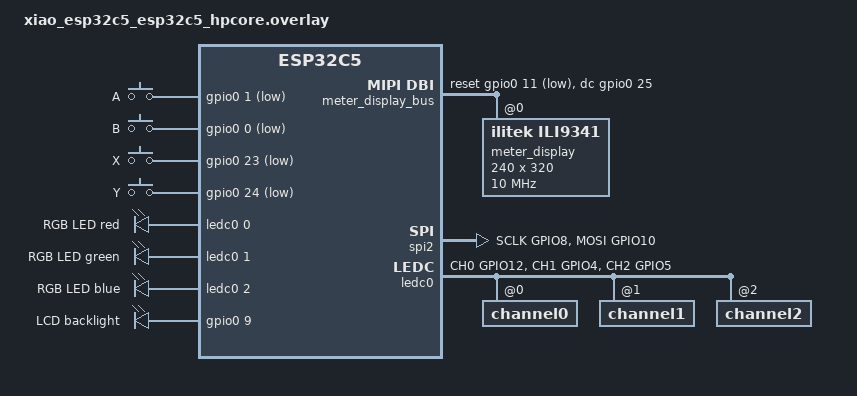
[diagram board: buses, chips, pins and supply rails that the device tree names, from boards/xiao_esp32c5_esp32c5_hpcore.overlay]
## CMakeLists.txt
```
# Copyright (c) 2026 Rob McKay
# SPDX-License-Identifier: Apache-2.0

cmake_minimum_required(VERSION 3.20.0)

include(${CMAKE_CURRENT_SOURCE_DIR}/../cmake/toolchain.cmake)
find_package(Zephyr REQUIRED HINTS $ENV{ZEPHYR_BASE})
project(network_meter)

include(${CMAKE_CURRENT_SOURCE_DIR}/../cmake/strict.cmake)
meter_strict_warnings(app)

# The hardware-independent core (cmake/meter_core.cmake), then the rest.
include(${CMAKE_CURRENT_SOURCE_DIR}/../cmake/meter_core.cmake)
meter_core(app)

target_sources(app PRIVATE
  src/main.c
  src/scan_task.c
  src/event_log.c
  src/reset_note.c
  src/watchdog.c
  src/scanner.c
  src/recommend.c
  src/ui.c
  src/gfx.c
  src/controls.c
  src/status_led.c
)
# Hooks a board's .conf turns on (app/Kconfig).
target_sources_ifdef(CONFIG_METER_WIFI_REG_DOMAIN app PRIVATE src/wifi_country.c)
target_sources_ifdef(CONFIG_METER_RESET_CAUSE app PRIVATE src/reset_cause.c)
target_sources_ifdef(CONFIG_METER_RESET_CAUSE_HWINFO app PRIVATE src/reset_cause_hwinfo.c)

# Target-only code: src/target/<target>/, each file under its own option. It may use
# the app's own headers, in src/.
target_include_directories(app PRIVATE src)
# The Pico's: flow control for the console on its USB port.
target_sources_ifdef(CONFIG_METER_USB_CONSOLE_FLOW app PRIVATE src/target/pico/usb_console.c)
# The Pico's: keeping the Wi-Fi chip out of its deep sleep.
target_sources_ifdef(CONFIG_METER_WIFI_KEEP_AWAKE app PRIVATE src/target/pico/wifi_awake.c)
# The Pico's: whether the hardware watchdog ended the run before.
target_sources_ifdef(CONFIG_METER_RESET_CAUSE_RP2040 app PRIVATE src/target/pico/reset_cause_rp2040.c)
# The Pico's: debugging the Wi-Fi driver after failed scans.
target_sources_ifdef(CONFIG_METER_DEBUG_WIFI_IRQ app PRIVATE src/target/pico/wifi_debug.c)
```

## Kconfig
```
# Copyright (c) 2026 Rob McKay
# SPDX-License-Identifier: Apache-2.0

menu "Network meter"

config METER_SCAN_INTERVAL_S
	int "Seconds between scans"
	default 10
	range 1 3600
	help
	  Time from the end of one scan to the start of the next. Button X
	  starts a scan at once.

config METER_SCAN_TIMEOUT_S
	int "Longest wait for a scan, seconds"
	default 15
	range 1 120
	help
	  A scan of every 2.4 GHz channel takes a few seconds. One that has not
	  finished by then is shown with what it heard so far.

config METER_SCAN_PASSIVE
	bool "Passive scans"
	default y
	help
	  Listen on each channel for beacons instead of sending probe
	  requests. A passive scan stays long enough on each channel to hear
	  every network's beacons (sent about every 100 ms), so it finds
	  weak and distant networks that an active scan, with its short
	  stay on each channel, misses. A sweep takes a second or two.

config METER_SCAN_DWELL_PASSIVE_MS
	int "Time on each channel in a passive scan, ms"
	default 0
	range 0 1500
	help
	  How long a passive scan listens on each channel (Zephyr's
	  wifi_scan_params.dwell_time_passive). 0 leaves it to the Wi-Fi
	  driver. Beacons come about every 102 ms, so 120-150 ms hears
	  every network once a sweep; longer makes a sweep slower. Drivers
	  that ignore the setting scan as before.

config METER_SCAN_DWELL_ACTIVE_MS
	int "Time on each channel in an active scan, ms"
	default 0
	range 0 1500
	help
	  How long an active scan (METER_SCAN_PASSIVE=n) stays on each
	  channel (wifi_scan_params.dwell_time_active). 0 leaves it to the
	  Wi-Fi driver.

config METER_BAND_5G
	bool "Keep 5 GHz networks"
	help
	  Keep the 5 GHz networks a scan hears, for a Wi-Fi chip that has the
	  band: the XIAO ESP32-C5's board .conf turns it on; the Pico W's
	  CYW43439 is 2.4 GHz only. Without it they count as "other". With
	  it, Channels 5 GHz and Networks 5 GHz screens follow the 2.4 GHz
	  ones, the LED follows the band of the screen last shown, and the
	  console reports both bands.

config METER_RECOMMEND_5G_132
	bool "Recommend the 5 GHz block 132-144"
	depends on METER_BAND_5G
	help
	  Consider the 80 MHz block 132-144 for the 5 GHz recommendation. The
	  US allows it; Europe and the UK stop at 140, so a router there
	  can't use the block at 80 MHz. 36-48, 52-64, 100-112 and 116-128 are
	  always considered.

config METER_RECOMMEND_5G_UPPER
	bool "Recommend the 5 GHz block 149-161"
	depends on METER_BAND_5G
	help
	  Consider the 80 MHz block 149-161 for the 5 GHz recommendation. The
	  US allows it at full power; in the UK it is short-range-device
	  spectrum (indoors, low power), which many routers don't offer.
	  Networks on it are counted either way.

config METER_WIFI_COUNTRY
	string "Wi-Fi country, ISO 3166 alpha-2"
	default ""
	help
	  The regulatory domain the meter asks the Wi-Fi driver for at
	  start-up (NET_REQUEST_WIFI_REG_DOMAIN), which decides the channels
	  it scans: for example "GB", "US", "DE", or "00" for the world-safe
	  set. Empty leaves it to the driver: on the Pico W, the AIROC
	  driver has no regulatory-domain request and takes its country
	  from CONFIG_WHD_WIFI_COUNTRY instead.

config METER_WIFI_REG_DOMAIN
	bool
	default y if METER_WIFI_COUNTRY != ""
	help
	  Set when METER_WIFI_COUNTRY names a country: builds
	  src/wifi_country.c.

config METER_RESET_CAUSE
	bool
	help
	  Set when the board has a way to read the hardware's reset cause
	  (one of the options that select it): each start's record keeps
	  it, so the events screen can name what the restart note can't
	  tell apart. Builds src/reset_cause.c.

config METER_RESET_CAUSE_HWINFO
	bool "Record the hardware's reset cause with each start, through hwinfo"
	select HWINFO
	select METER_RESET_CAUSE
	help
	  Reads the reset cause from the hardware (hwinfo_get_reset_cause())
	  and keeps it in each start's record, so the events screen can
	  name what the restart note can't tell apart: the reset button, a
	  hardware watchdog, a brown-out, a CPU fault. Only for boards whose
	  hwinfo driver reports it reliably: the RP2040's keeps the last
	  power-on until the next one, so the Pico W reads its watchdog
	  instead (METER_RESET_CAUSE_RP2040).

config METER_RETRY_S
	int "Seconds before retrying a scan that heard nothing"
	default 2
	range 1 3600
	help
	  A scan that fails, or hears no networks at all, is retried after
	  this long instead of CONFIG_METER_SCAN_INTERVAL_S.

config METER_RECOVER_AFTER
	int "Failed scans in a row before the meter restarts"
	default 5
	range 0 1000
	help
	  A Wi-Fi driver can stop working for good: the Pico W's AIROC
	  driver runs out of packet buffers, after which no scan can start. After this many failed scans in a row
	  (about 10 seconds at CONFIG_METER_RETRY_S = 2), the meter
	  restarts to recover. 0 never restarts.

config METER_FADE_START_S
	int "Seconds a network stays at full brightness"
	default 60
	range 0 3600
	help
	  Time after a network was last heard before it starts to fade on
	  the screen.

config METER_FADE_END_S
	int "Seconds until a network has faded out"
	default 120
	range 1 3600
	help
	  Time after a network was last heard by which it has faded and is
	  forgotten. Must be more than CONFIG_METER_FADE_START_S.

config METER_FADE_MIN_PERCENT
	int "Brightness a network fades to before it goes, percent"
	default 40
	range 0 100
	help
	  A fading network dims towards this, and stays visible, until
	  CONFIG_METER_FADE_END_S, when it goes. 0 fades it to black.

config METER_REDRAW_MS
	int "Milliseconds between screen updates"
	default 500
	range 50 1250
	help
	  How often the screen is checked for changes (new results or
	  fading), and redrawn if anything changed. At most 1250: the main
	  thread's 5 s watchdog deadline must allow several redraws
	  (main.c).

config METER_LED_BRIGHTNESS
	int "RGB LED brightness, percent"
	default 2
	range 1 100
	help
	  The status RGB LED is dimmed with PWM (the Display Pack's is very
	  bright at full power). Zephyr's LED API
	  sets brightness in whole percent, so 1 is the dimmest it can be
	  short of off.

config METER_SCAN_STACK_SIZE
	int "Scan thread stack size"
	default 2048

config METER_SCAN_PRIORITY
	int "Scan thread priority"
	default 5

# The event log's options, shared with tests/event_log.
rsource "Kconfig.event_log"

# Options that only one target has (src/target/<target>/Kconfig).
rsource "src/target/*/Kconfig"

module = METER
module-str = Network meter
source "subsys/logging/Kconfig.template.log_config"

endmenu

source "Kconfig.zephyr"
```

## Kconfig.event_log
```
# Copyright (c) 2026 Rob McKay
# SPDX-License-Identifier: Apache-2.0
#
# The event log's options (src/event_log.c). Sourced by app/Kconfig and by
# tests/event_log/Kconfig, which builds event_log.c on its own.

config METER_EVENT_LOG_MAX_SECTORS
	int "Most flash sectors the event log can use"
	default 16
	range 2 1024
	help
	  Room for the storage partition's sector table. A partition with
	  more sectors than this can't be opened: the log is then left off,
	  with an error naming the partition, and the partition is not
	  touched. Each sector costs 8 bytes of RAM. Pick the partition's
	  size to match rather than raise this: the Pico W's 64 KB
	  partition has 16 sectors of 4 KB.
```

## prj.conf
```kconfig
# Copyright (c) 2026 Rob McKay
# SPDX-License-Identifier: Apache-2.0
#
# Network meter: what every board shares. Each board adds its own
# boards/<board>.conf and boards/<board>.overlay (the Pico W's: the
# CYW43439's country, the Display Pack 2.0 and the USB console).

# Wi-Fi: scans only, so no IP traffic beyond what the stack insists on.
CONFIG_NETWORKING=y
CONFIG_WIFI=y
CONFIG_NET_IPV4=y
CONFIG_NET_IPV6=n
CONFIG_NET_TCP=n
CONFIG_NET_MGMT=y
CONFIG_NET_MGMT_EVENT=y
# Scan results arrive as events carrying their data.
CONFIG_NET_MGMT_EVENT_INFO=y
# A crowded place reports dozens of networks in a burst: queue them.
CONFIG_NET_MGMT_EVENT_QUEUE_SIZE=16
CONFIG_NET_MGMT_EVENT_QUEUE_TIMEOUT=5000
CONFIG_NET_MGMT_EVENT_STACK_SIZE=2048

# Display Pack 2.0: ST7789V panel, buttons, RGB LED and backlight.
CONFIG_DISPLAY=y
CONFIG_INPUT=y
CONFIG_LED=y
# The RGB LED is dimmed with PWM (pwm-leds).
CONFIG_PWM=y
# Only for its fonts (cfb_font_1016, ...): text is drawn by text_raster.c.
CONFIG_CHARACTER_FRAMEBUFFER=y

CONFIG_LOG=y
# Restart to recover a Wi-Fi driver that has stopped working (scan_task.c).
CONFIG_REBOOT=y

# The event log of starts, in flash (event_log.c).
CONFIG_FLASH=y
CONFIG_FLASH_MAP=y
CONFIG_FCB=y
# The restart note's checksum (boot_record.c).
CONFIG_CRC=y

# Restart if a thread stops responding (watchdog.c). The hardware watchdog
# behind it waits 4 s, longer than a flash erase stops interrupts for (each
# board's .conf notes its own limit).
CONFIG_WATCHDOG=y
CONFIG_TASK_WDT=y
CONFIG_TASK_WDT_MIN_TIMEOUT=2000
CONFIG_TASK_WDT_HW_FALLBACK_DELAY=2000
CONFIG_MAIN_STACK_SIZE=4096
```

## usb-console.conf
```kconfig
# Copyright (c) 2026 Rob McKay
# SPDX-License-Identifier: Apache-2.0
#
# The console on the Pico's own USB port, as a CDC-ACM serial port (with
# app/usb-console.overlay; scripts/build.sh adds both). On a Mac it appears
# as /dev/cu.usbmodem<N>; on Linux as /dev/ttyACM<N>.

CONFIG_USB_DEVICE_STACK_NEXT=y
CONFIG_CDC_ACM_SERIAL_INITIALIZE_AT_BOOT=y
CONFIG_SERIAL=y
CONFIG_CONSOLE=y
CONFIG_UART_CONSOLE=y
CONFIG_UART_LINE_CTRL=y

CONFIG_CDC_ACM_SERIAL_MANUFACTURER_STRING="Raspberry Pi"
CONFIG_CDC_ACM_SERIAL_PRODUCT_STRING="Pico W network meter"
# Raspberry Pi's vendor ID and the Pico SDK's USB serial product ID, as
# Pico firmware's USB serial ports use, instead of Zephyr's test IDs.
CONFIG_CDC_ACM_SERIAL_VID=0x2e8a
CONFIG_CDC_ACM_SERIAL_PID=0x000a

# Room for a scan's worth of log lines while the host catches up.
CONFIG_LOG_BUFFER_SIZE=4096
```

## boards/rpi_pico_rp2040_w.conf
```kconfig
# Copyright (c) 2026 Rob McKay
# SPDX-License-Identifier: Apache-2.0
#
# Raspberry Pi Pico W: what only this board needs, on top of prj.conf.
# Zephyr adds this file for the board by name, as it does the overlay
# beside it (rpi_pico_rp2040_w.overlay: the Display Pack 2.0 and the USB
# console). The board's defconfig enables the CYW43439 (AIROC) Wi-Fi chip.

# Regulatory domain: which channels the chip scans (1-13 in the UK and
# Europe, 1-11 in the US). scripts/build.sh sets it from WIFI_COUNTRY.
CONFIG_WHD_WIFI_COUNTRY="WHD_COUNTRY_UNITED_KINGDOM"

# The hardware watchdog's 4 s (prj.conf) is within the RP2040's 8.3 s
# limit.

# The console on the Pico's own USB port, as a CDC-ACM serial port (with
# the cdc_acm_console node in the overlay). On a Mac it appears as
# /dev/cu.usbmodem<N>; on Linux as /dev/ttyACM<N>. src/target/pico/
# usb_console.c turns flow control on while a host has the port open.
CONFIG_USB_DEVICE_STACK_NEXT=y
CONFIG_CDC_ACM_SERIAL_INITIALIZE_AT_BOOT=y
CONFIG_SERIAL=y
CONFIG_CONSOLE=y
CONFIG_UART_CONSOLE=y
CONFIG_UART_LINE_CTRL=y

CONFIG_CDC_ACM_SERIAL_MANUFACTURER_STRING="Raspberry Pi"
CONFIG_CDC_ACM_SERIAL_PRODUCT_STRING="Pico W network meter"
# Raspberry Pi's vendor ID and the Pico SDK's USB serial product ID, as
# Pico firmware's USB serial ports use, instead of Zephyr's test IDs.
CONFIG_CDC_ACM_SERIAL_VID=0x2e8a
CONFIG_CDC_ACM_SERIAL_PID=0x000a

# Room for a scan's worth of log lines while the host catches up.
CONFIG_LOG_BUFFER_SIZE=4096
```

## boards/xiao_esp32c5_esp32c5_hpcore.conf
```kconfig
# Copyright (c) 2026 Rob McKay
# SPDX-License-Identifier: Apache-2.0
#
# Seeed XIAO ESP32-C5: what only this board needs, on top of prj.conf.
# Zephyr adds this file for the board by name, as it does the overlay
# beside it (xiao_esp32c5_esp32c5_hpcore.overlay: the ILI9341 TFT, the
# buttons and the RGB LED). The board's devicetree enables the C5's Wi-Fi;
# its console is the C5's USB Serial/JTAG, on the USB-C socket.

# The image header's flash size: the module has 8 MB, as the devicetree
# and the flash runner say, but Espressif's Kconfig defaults to 2 MB.
CONFIG_ESPTOOLPY_FLASHSIZE_8MB=y

# Regulatory domain: which channels the chip scans (2.4 GHz 1-13 and the
# 5 GHz channels allowed in the UK). An ISO 3166-1 alpha-2 code;
# scripts/build.sh sets it from WIFI_COUNTRY.
CONFIG_METER_WIFI_COUNTRY="GB"

# Listen 130 ms on each channel, not the Wi-Fi library's 360 ms: beacons
# come every 102.4 ms, so every AP is still heard, and a sweep of both
# bands' 38 UK channels takes about 5 s, well inside
# CONFIG_METER_SCAN_TIMEOUT_S. Needs zephyr/patches/zephyr/
# esp32-wifi-scan-params.patch, without which the driver ignores it.
CONFIG_METER_SCAN_DWELL_PASSIVE_MS=130

# The C5 hears both bands: keep the 5 GHz networks as well, for the
# Channels 5 GHz screen, the 5 GHz network list and the console.
CONFIG_METER_BAND_5G=y

# Room for a scan's worth of log lines while the console catches up: with
# 5 GHz a scan's report is up to 44 lines, which overflow Zephyr's default
# 1 KB ("--- 5 messages dropped ---"). The same as the Pico's.
CONFIG_LOG_BUFFER_SIZE=4096

# The reset cause in each start's record ("HW watchdog", "brown-out",
# "CPU fault", ...), from the chip's own reset reason (hwinfo). The XIAO's
# reset button pulls the chip's enable pin, which it reports as a
# power-on, not as "reset button".
CONFIG_METER_RESET_CAUSE_HWINFO=y

# The hardware watchdog's 4 s (prj.conf) is within the C5's timer-group
# watchdog range (wdt0, enabled by the board).
```

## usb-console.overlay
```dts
/*
 * Copyright (c) 2026 Rob McKay
 *
 * SPDX-License-Identifier: Apache-2.0
 *
 * The console on the Pico's own USB port, as a CDC-ACM serial port
 * (with app/usb-console.conf; scripts/build.sh adds both). Like Zephyr's
 * cdc-acm-console snippet, but with a 4 KiB transmit FIFO instead of 1 KiB,
 * so that a scan's burst of log lines fits without output being dropped.
 *
 * No hw-flow-control here: with it the driver waits, for ever, for a host
 * to take the output, and the boot banner then stops the Pico starting at
 * all until a computer has opened the port (or for good on a USB charger).
 * src/usb_console.c turns flow control on only while a host has the port
 * open.
 */

/ {
	chosen {
		zephyr,console = &cdc_acm_console;
		zephyr,shell-uart = &cdc_acm_console;
	};
};

&zephyr_udc0 {
	cdc_acm_console: cdc_acm_console {
		compatible = "zephyr,cdc-acm-uart";
		tx-fifo-size = <4096>;
	};
};
```

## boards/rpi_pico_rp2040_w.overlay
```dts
/*
 * Copyright (c) 2026 Rob McKay
 *
 * SPDX-License-Identifier: Apache-2.0
 *
 * Pimoroni Pico Display Pack 2.0 on a Raspberry Pi Pico W: a 2.0" 320x240
 * IPS panel (ST7789V), four buttons, an RGB LED. The pack plugs onto the
 * Pico's headers; its pins:
 *
 *   Function            Pico GPIO
 *   LCD CS              17  (SPI0 chip select, driven as a GPIO)
 *   LCD SCLK            18  (SPI0 SCK)
 *   LCD MOSI            19  (SPI0 TX)
 *   LCD DC              16
 *   Backlight           20
 *   Button A, B, X, Y   12, 13, 14, 15  (to ground when pressed)
 *   LED red, green, blue 6, 7, 8       (active low; PWM 3A, 3B, 4A)
 *
 * The RGB LED is very bright at full power, so it is driven by PWM and
 * dimmed (CONFIG_METER_LED_BRIGHTNESS).
 *
 * The panel's reset is wired to the Pico's RUN pin, so it has no reset GPIO
 * here: the driver resets it with a software reset command. None of these
 * pins clash with the CYW43439's (GPIO 23, 24, 25, 29).
 *
 * The node labels (meter_display, meter_buttons, meter_rgb_led,
 * meter_led_red/green/blue, meter_leds, meter_backlight) are the ones the
 * application uses (status_led.c): every board's overlay gives them.
 *
 * The panel is 240x320 portrait; mdac (MADCTL) 0x60 turns it to landscape.
 * If the picture is upside down, use 0xa0; if the colours are inverted,
 * add inversion-off.
 */

#include <zephyr/dt-bindings/display/panel.h>
#include <zephyr/dt-bindings/gpio/gpio.h>
#include <zephyr/dt-bindings/input/input-event-codes.h>
#include <zephyr/dt-bindings/mipi_dbi/mipi_dbi.h>
#include <zephyr/dt-bindings/pwm/pwm.h>

/ {
	chosen {
		zephyr,display = &meter_display;
	};

	meter_display_bus: mipi_dbi {
		compatible = "zephyr,mipi-dbi-spi";
		spi-dev = <&spi0>;
		dc-gpios = <&gpio0 16 GPIO_ACTIVE_HIGH>;
		write-only;
		#address-cells = <1>;
		#size-cells = <0>;

		meter_display: st7789v@0 {
			compatible = "sitronix,st7789v";
			reg = <0>;
			mipi-max-frequency = <62500000>;
			mipi-mode = "MIPI_DBI_MODE_SPI_4WIRE";
			width = <320>;
			height = <240>;
			x-offset = <0>;
			y-offset = <0>;
			mdac = <0x60>;
			pixel-format = <PANEL_PIXEL_FORMAT_RGB_565X>;
			/* Gate, VCOM and gamma as Pimoroni's driver sets them
			 * for this panel; power and porch settings as Zephyr's
			 * other ST7789V boards use.
			 */
			vcom = <0x1f>;
			gctrl = <0x35>;
			vrhs = <0x12>;
			vdvs = <0x20>;
			gamma = <0x01>;
			lcm = <0x2c>;
			porch-param = [0c 0c 00 33 33];
			cmd2en-param = [5a 69 02 01];
			pwctrl1-param = [a4 a1];
			pvgam-param = [d0 08 11 08 0c 15 39 33 50 36 13 14 29 2d];
			nvgam-param = [d0 08 10 08 06 06 39 44 51 0b 16 14 2f 31];
			ram-param = [00 f0];
			rgb-param = [cd 08 14];
		};
	};

	meter_buttons: buttons {
		compatible = "gpio-keys";

		button_a {
			gpios = <&gpio0 12 (GPIO_PULL_UP | GPIO_ACTIVE_LOW)>;
			label = "A";
			zephyr,code = <INPUT_KEY_A>;
		};

		button_b {
			gpios = <&gpio0 13 (GPIO_PULL_UP | GPIO_ACTIVE_LOW)>;
			label = "B";
			zephyr,code = <INPUT_KEY_B>;
		};

		button_x {
			gpios = <&gpio0 14 (GPIO_PULL_UP | GPIO_ACTIVE_LOW)>;
			label = "X";
			zephyr,code = <INPUT_KEY_X>;
		};

		button_y {
			gpios = <&gpio0 15 (GPIO_PULL_UP | GPIO_ACTIVE_LOW)>;
			label = "Y";
			zephyr,code = <INPUT_KEY_Y>;
		};
	};

	/* PWM channel numbers are slice * 2, plus 1 for a slice's B output. */
	meter_rgb_led: rgb_led {
		compatible = "pwm-leds";

		meter_led_red: led_red {
			pwms = <&pwm 6 PWM_HZ(1000) PWM_POLARITY_INVERTED>;
			label = "RGB LED red";
		};

		meter_led_green: led_green {
			pwms = <&pwm 7 PWM_HZ(1000) PWM_POLARITY_INVERTED>;
			label = "RGB LED green";
		};

		meter_led_blue: led_blue {
			pwms = <&pwm 8 PWM_HZ(1000) PWM_POLARITY_INVERTED>;
			label = "RGB LED blue";
		};
	};

	meter_leds: leds {
		compatible = "gpio-leds";

		meter_backlight: backlight {
			gpios = <&gpio0 20 GPIO_ACTIVE_HIGH>;
			label = "LCD backlight";
		};
	};
};

&pinctrl {
	/* SPI0 for the panel: clock and data only. The board's default
	 * also claims GPIO 16 as SPI RX, which is the panel's DC line here,
	 * and drives CS from the SPI block; CS is a GPIO instead.
	 */
	spi0_display_pack: spi0_display_pack {
		group1 {
			pinmux = <SPI0_SCK_P18>, <SPI0_TX_P19>;
		};
	};

	/* The RGB LED's pins, in place of the board's default PWM pin
	 * (GPIO 25, the Wi-Fi chip's chip select on a Pico W).
	 */
	pwm_display_pack_led: pwm_display_pack_led {
		group1 {
			pinmux = <PWM_3A_P6>, <PWM_3B_P7>, <PWM_4A_P8>;
		};
	};
};

&pwm {
	pinctrl-0 = <&pwm_display_pack_led>;
	pinctrl-names = "default";
	status = "okay";
};

&spi0 {
	pinctrl-0 = <&spi0_display_pack>;
	pinctrl-names = "default";
	cs-gpios = <&gpio0 17 GPIO_ACTIVE_LOW>;
	clock-frequency = <62500000>;
	status = "okay";
};

/* The last 64 KB of flash hold the event log (event_log.c), out of the
 * firmware's way: a UF2 update writes only the firmware's own blocks, so the
 * log survives it. The board gives all of the flash to the firmware.
 */
&code_partition {
	reg = <0x100 (DT_SIZE_M(2) - 0x100 - DT_SIZE_K(64))>;
};

&flash0 {
	partitions {
		storage_partition: partition@1f0000 {
			compatible = "zephyr,mapped-partition";
			label = "storage";
			reg = <0x1f0000 DT_SIZE_K(64)>;
		};
	};
};

/* Behind the task watchdog (watchdog.c). */
&wdt0 {
	status = "okay";
};

/* The console on the Pico's own USB port, as a CDC-ACM serial port (with
 * the USB settings in rpi_pico_rp2040_w.conf). Like Zephyr's
 * cdc-acm-console snippet, but with a 4 KiB transmit FIFO instead of 1 KiB,
 * so that a scan's burst of log lines fits without output being dropped.
 *
 * No hw-flow-control here: with it the driver waits, for ever, for a host
 * to take the output, and the boot banner then stops the Pico starting at
 * all until a computer has opened the port (or for good on a USB charger).
 * src/target/pico/usb_console.c turns flow control on only while a host has
 * the port open.
 */
/ {
	chosen {
		zephyr,console = &cdc_acm_console;
		zephyr,shell-uart = &cdc_acm_console;
	};
};

&zephyr_udc0 {
	cdc_acm_console: cdc_acm_console {
		compatible = "zephyr,cdc-acm-uart";
		tx-fifo-size = <4096>;
	};
};
```

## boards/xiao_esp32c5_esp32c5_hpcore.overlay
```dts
/*
 * Copyright (c) 2026 Rob McKay
 *
 * SPDX-License-Identifier: Apache-2.0
 *
 * Seeed XIAO ESP32-C5 with a 2.2" ILI9341 240x320 SPI TFT (a 3.3 V
 * module), four push buttons to ground and a common-anode RGB LED, wired
 * as in docs/port-esp32c5.md (section 7, "Wiring"):
 *
 *   Function          XIAO pad   GPIO
 *   TFT SCK           D8         8     SPI2 SCLK (GPIO matrix)
 *   TFT MOSI (SDI)    D10        10    SPI2 MOSI
 *   TFT CS            D3         7     strapping pin: an input on the TFT
 *   TFT DC (RS)       D2         25    strapping pin: an input on the TFT
 *   TFT RESET         D6         11    (UART0 TX on the board: disabled)
 *   TFT LED           D9         9     backlight, through a transistor
 *   Button A, B       D0, D1     1, 0
 *   Button X, Y       D4, D5     23, 24 (I2C0 on the board: disabled)
 *   LED red           D7         12    LEDC channel 0
 *   LED green, blue   MTCK, MTDO 4, 5  pads on the back; LEDC channels 1, 2
 *
 * The TFT's MISO is not connected (the driver only writes). The console is
 * the C5's own USB Serial/JTAG, on the board's USB-C socket (the board's
 * default).
 *
 * The node labels (meter_display, meter_buttons, meter_rgb_led,
 * meter_led_red/green/blue, meter_leds, meter_backlight) are the ones the
 * application uses (status_led.c): every board's overlay gives them.
 */

#include <zephyr/dt-bindings/display/panel.h>
#include <zephyr/dt-bindings/gpio/gpio.h>
#include <zephyr/dt-bindings/input/input-event-codes.h>
#include <zephyr/dt-bindings/mipi_dbi/mipi_dbi.h>
#include <zephyr/dt-bindings/pwm/pwm.h>

/ {
	chosen {
		zephyr,display = &meter_display;
	};

	meter_display_bus: mipi_dbi {
		compatible = "zephyr,mipi-dbi-spi";
		spi-dev = <&spi2>;
		dc-gpios = <&gpio0 25 GPIO_ACTIVE_HIGH>;
		reset-gpios = <&gpio0 11 GPIO_ACTIVE_LOW>;
		write-only;
		#address-cells = <1>;
		#size-cells = <0>;

		meter_display: ili9341@0 {
			compatible = "ilitek,ili9341";
			reg = <0>;
			/* 10 MHz: the ILI9341's rated write clock. On the same
			 * module over jumper wires, pi-zephyr-inet-radio ran
			 * 9.6 MHz; 31.25 MHz left the screen white. Raise it
			 * (20 MHz on the GPIO matrix) only with short wires.
			 */
			mipi-max-frequency = <DT_FREQ_M(10)>;
			mipi-mode = "MIPI_DBI_MODE_SPI_4WIRE";
			/* The panel's own (portrait) size: the driver swaps
			 * them for rotation 90, giving the UI 320x240.
			 */
			width = <240>;
			height = <320>;
			rotation = <90>;
			/* This module is mirrored left-right in landscape
			 * (seen on hardware in pi-zephyr-inet-radio); v-mirror
			 * (MADCTL MY) flips the axis that rotation 90 puts
			 * across the screen.
			 */
			v-mirror;
			pixel-format = <PANEL_PIXEL_FORMAT_RGB_565X>;
		};
	};

	meter_buttons: buttons {
		compatible = "gpio-keys";
		debounce-interval-ms = <30>;

		button_a {
			gpios = <&gpio0 1 (GPIO_PULL_UP | GPIO_ACTIVE_LOW)>;
			label = "A";
			zephyr,code = <INPUT_KEY_A>;
		};

		button_b {
			gpios = <&gpio0 0 (GPIO_PULL_UP | GPIO_ACTIVE_LOW)>;
			label = "B";
			zephyr,code = <INPUT_KEY_B>;
		};

		button_x {
			gpios = <&gpio0 23 (GPIO_PULL_UP | GPIO_ACTIVE_LOW)>;
			label = "X";
			zephyr,code = <INPUT_KEY_X>;
		};

		button_y {
			gpios = <&gpio0 24 (GPIO_PULL_UP | GPIO_ACTIVE_LOW)>;
			label = "Y";
			zephyr,code = <INPUT_KEY_Y>;
		};
	};

	meter_rgb_led: rgb_led {
		compatible = "pwm-leds";

		meter_led_red: led_red {
			pwms = <&ledc0 0 PWM_HZ(1000) PWM_POLARITY_INVERTED>;
			label = "RGB LED red";
		};

		meter_led_green: led_green {
			pwms = <&ledc0 1 PWM_HZ(1000) PWM_POLARITY_INVERTED>;
			label = "RGB LED green";
		};

		meter_led_blue: led_blue {
			pwms = <&ledc0 2 PWM_HZ(1000) PWM_POLARITY_INVERTED>;
			label = "RGB LED blue";
		};
	};

	/* Not "leds": the board has that node, for its yellow user LED. */
	meter_leds: leds_ext {
		compatible = "gpio-leds";

		meter_backlight: backlight {
			gpios = <&gpio0 9 GPIO_ACTIVE_HIGH>;
			label = "LCD backlight";
		};
	};
};

&pinctrl {
	spim2_tft: spim2_tft {
		group1 {
			pinmux = <SPIM2_SCLK_GPIO8>, <SPIM2_MOSI_GPIO10>;
			output-low;
		};
	};

	ledc0_rgb: ledc0_rgb {
		group1 {
			pinmux = <LEDC_CH0_GPIO12>, <LEDC_CH1_GPIO4>, <LEDC_CH2_GPIO5>;
			output-enable;
		};
	};
};

&spi2 {
	pinctrl-0 = <&spim2_tft>;
	pinctrl-names = "default";
	cs-gpios = <&gpio0 7 GPIO_ACTIVE_LOW>;
	/* No dma-enabled: on the C5 that needs dmas = <&dma ...> and the
	 * GDMA controller (&dma) enabled too, and without them every transfer
	 * fails ("DMA channel is not configured"), so the panel never starts.
	 * The CPU-driven transfers are fast enough at the panel's 10 MHz.
	 */
	status = "okay";
};

&ledc0 {
	pinctrl-0 = <&ledc0_rgb>;
	pinctrl-names = "default";
	#address-cells = <1>;
	#size-cells = <0>;
	status = "okay";

	channel0@0 {
		reg = <0x0>;
		timer = <0>;
	};

	channel1@1 {
		reg = <0x1>;
		timer = <0>;
	};

	channel2@2 {
		reg = <0x2>;
		timer = <0>;
	};
};

/* Their pins are buttons, the TFT's reset and the LED here. */
&uart0 {
	status = "disabled";
};

&i2c0 {
	status = "disabled";
};

/* The event log (event_log.c): 64 KB, as on the Pico, in place of the
 * board's 192 KB, whose 48 sectors are more than the log opens
 * (CONFIG_METER_EVENT_LOG_MAX_SECTORS). It stays at the end of the flash,
 * which west flash and esptool's write-flash leave alone, so the log
 * survives an update; esptool erase-flash wipes it.
 */
&storage_partition {
	reg = <0x7b0000 DT_SIZE_K(64)>;
};
```

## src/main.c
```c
/*
 * Copyright (c) 2026 Rob McKay
 *
 * SPDX-License-Identifier: Apache-2.0
 *
 * Network meter: scans the 2.4 GHz Wi-Fi band every
 * CONFIG_METER_SCAN_INTERVAL_S seconds (scan_task.c) and shows per-channel
 * statistics on the display (zephyr,display: on the Pico W, a Pimoroni Pico
 * Display Pack 2.0), and on the serial console.
 *
 * Networks stay on screen after they were last heard: at full brightness
 * for CONFIG_METER_FADE_START_S seconds, then fading to
 * CONFIG_METER_FADE_MIN_PERCENT, and gone at CONFIG_METER_FADE_END_S. The screen is redrawn every
 * CONFIG_METER_REDRAW_MS while anything changes.
 *
 * Each start is logged in flash with why it happened (event_log.c,
 * reset_note.c), and shown on the events screen. A watchdog restarts the
 * meter if a thread stops responding (watchdog.c).
 *
 * Buttons: A next screen, B previous screen. On the channels screen X scans
 * now; on the networks and events screens X and Y page up and down a list
 * too long for the screen. On the events screen, X and Y together print the
 * whole log on the console.
 * RGB LED: blue while scanning, then green, amber or red for how busy the
 * recommended channel is; magenta if the latest scan failed.
 */

#include <stdbool.h>
#include <stddef.h>

#include <zephyr/input/input.h>
#include <zephyr/kernel.h>
#include <zephyr/logging/log.h>
#include <zephyr/logging/log_ctrl.h>
#include <zephyr/dt-bindings/input/input-event-codes.h>
#include <zephyr/sys/util.h>
#include <zephyr/toolchain.h>

#include "boot_record.h"
#include "chan_stats.h"
#include "controls.h"
#include "event_log.h"
#include "keys.h"
#include "paging.h"
#include "recommend.h"
#include "reset_cause.h"
#include "reset_note.h"
#include "scan_task.h"
#include "scanner.h"
#include "status_led.h"
#include "ui.h"
#include "watchdog.h"

LOG_MODULE_REGISTER(meter, CONFIG_METER_LOG_LEVEL);

/* Starts printed on the console at start-up, newest first. */
#define STARTS_ON_CONSOLE 10U
/* Longest description of a start, and a NUL. */
#define START_TEXT_MAX    40

/* Longest wait for the console to take a line of a log dump, in 10 ms
 * steps: 1 s.
 */
#define DUMP_WAIT_STEPS   100
#define DUMP_WAIT_STEP_MS 10

/* The main thread's watchdog channel; set by main() before the loop. */
static int main_watch = -1;

/* The main thread's watchdog deadline: it goes round every CONFIG_METER_REDRAW_MS. */
#define MAIN_DEADLINE_MS 5000U
BUILD_ASSERT(MAIN_DEADLINE_MS >= 4U * CONFIG_METER_REDRAW_MS,
	     "the main thread's watchdog deadline must allow several redraws");

/**
 * @brief Map how busy a channel is to the LED status that shows it.
 *
 * @param level How busy.
 * @return Green, amber or red status.
 *
 * @sideeffects None; errno unchanged.
 */
static enum status level_status(enum chan_level level)
{
	switch (level) {
	case CHAN_LEVEL_BUSY:
		return STATUS_BUSY;
	case CHAN_LEVEL_MODERATE:
		return STATUS_MODERATE;
	default:
		return STATUS_CLEAR;
	}
}


/**
 * @brief Pick the LED status: scanning (or no scan finished yet), failed,
 *        or how busy the recommended channel (on 5 GHz, 80 MHz block) is.
 *
 * @param s The networks showing.
 * @param state The scan thread's progress.
 * @param band The band whose recommendation counts: the last channels
 *        screen's.
 * @return The status.
 *
 * @sideeffects None; errno unchanged.
 */
static enum status led_status(const struct chan_stats *s, const struct scan_task_state *state,
			      enum chan_band band)
{
	struct chan_info best;

	if (state->busy || state->scans == 0U) {
		return STATUS_SCANNING;
	}
	if (state->last_error != 0) {
		return STATUS_ERROR;
	}
	if (band == CHAN_BAND_5G) {
		chan_stats_block_5g(s, recommend_5g(s), &best);
	} else {
		chan_stats_channel(s, chan_stats_recommend(s), &best);
	}

	return level_status(chan_stats_level(best.interference));
}


/* A screen A and B step through: a view, and for a channels or networks
 * screen its band.
 */
struct page {
	enum ui_view view;
	enum chan_band band; /* CHAN_BAND_COUNT: keep the band of the screen before */
};

/* The screens in order: each band's channels and networks, side by side,
 * then the events. The 5 GHz ones are left out without
 * CONFIG_METER_BAND_5G.
 */
static const struct page pages[] = {
	{UI_VIEW_CHANNELS, CHAN_BAND_2G4}, {UI_VIEW_NETWORKS, CHAN_BAND_2G4},
	{UI_VIEW_CHANNELS, CHAN_BAND_5G},  {UI_VIEW_NETWORKS, CHAN_BAND_5G},
	{UI_VIEW_EVENTS, CHAN_BAND_COUNT},
};

/* What the screen shows, to redraw only when something changes. */
struct screen {
	size_t page;              /* index in pages[] */
	enum ui_view view;        /* pages[page].view */
	enum chan_band band;      /* the band of the last channels or networks screen:
				   * the LED shows its recommendation
				   */
	size_t first;             /* networks or events screen: first row shown */
	bool full;                /* the whole screen needs drawing */
	unsigned int drawn_scans; /* scan count on screen */
	struct chan_stats shown;  /* networks on screen */
};

/**
 * @brief Change the screen shown, back to the top of its list.
 *
 * Steps through pages[], skipping the 5 GHz screens without
 * CONFIG_METER_BAND_5G. A channels or networks screen sets the band; the
 * events screen keeps it.
 *
 * @param[in,out] scr What is on screen.
 * @param step 1 for the next screen, -1 (or any other value) for the
 *        previous one.
 *
 * @sideeffects None (writes only through @p scr); errno unchanged.
 */
static void change_view(struct screen *scr, int step)
{
	const size_t n = ARRAY_SIZE(pages);

	do {
		scr->page = (scr->page + (step > 0 ? 1U : n - 1U)) % n;
	} while (!IS_ENABLED(CONFIG_METER_BAND_5G) && pages[scr->page].band == CHAN_BAND_5G);
	scr->view = pages[scr->page].view;
	if (pages[scr->page].band != CHAN_BAND_COUNT) {
		scr->band = pages[scr->page].band;
	}
	scr->first = 0;
}


/**
 * @brief Count the rows of the list on screen.
 *
 * @param scr What is on screen.
 * @return Networks or events; 0 on the channels screen.
 *
 * @sideeffects None; errno unchanged.
 */
static size_t list_length(const struct screen *scr)
{
	switch (scr->view) {
	case UI_VIEW_NETWORKS:
		return chan_stats_band_count(&scr->shown, scr->band);
	case UI_VIEW_EVENTS:
		return event_log_count();
	default:
		return 0;
	}
}


/**
 * @brief Page the list on screen up or down.
 *
 * @param[in,out] scr What is on screen.
 * @param down Down a page if true, up if false.
 * @return True if the page changed.
 *
 * @sideeffects None (writes only through @p scr); errno unchanged.
 */
static bool page_list(struct screen *scr, bool down)
{
	size_t was = scr->first;

	scr->first = paging_move(scr->first, down, list_length(scr), ui_list_rows());

	return scr->first != was;
}


/**
 * @brief Wait for the console to take what has been logged, feeding the
 *        watchdog meanwhile.
 *
 * Wakes the log thread first: left alone, it sleeps for
 * CONFIG_LOG_PROCESS_THREAD_SLEEP_MS (1 s) until CONFIG_LOG_PROCESS_TRIGGER_THRESHOLD
 * messages are waiting, so every line would take the whole wait.
 *
 * @return True if it did, false if it is still busy after a second (no
 *         one reading it).
 *
 * @sideeffects Wakes the log thread (log_thread_trigger()); sleeps the main thread, in 10 ms
 *              steps, up to 1 s; feeds @c main_watch. errno unchanged.
 */
static bool wait_for_console(void)
{
	log_thread_trigger();
	for (int i = 0; i < DUMP_WAIT_STEPS && log_data_pending(); i++) {
		watchdog_feed(main_watch);
		k_msleep(DUMP_WAIT_STEP_MS);
	}
	watchdog_feed(main_watch);

	return !log_data_pending();
}


/**
 * @brief Log one start with all its details (event_log_dump() function).
 *
 * Stops logging once the console has stopped keeping up.
 *
 * @param r The start.
 * @param arg The dump's flag (bool): set once the console stops keeping up.
 *
 * @sideeffects Logs the start; those of wait_for_console(). errno may be set by snprintf()
 *              (only on an output error).
 */
static void log_one_start(const struct boot_record *r, void *arg)
{
	bool *stalled = arg;
	char text[START_TEXT_MAX];

	if (*stalled) {
		return;
	}
	boot_record_describe(r, text, sizeof(text));
	if (r->hw_reset == BOOT_HW_UNKNOWN) {
		LOG_INF("%s: cause %u, ran %u s, detail %d, arg 0x%08x", text,
			(unsigned int)r->cause, (unsigned int)r->uptime_s, (int)r->detail,
			(unsigned int)r->arg);
	} else {
		LOG_INF("%s: cause %u, ran %u s, detail %d, arg 0x%08x, hw %u", text,
			(unsigned int)r->cause, (unsigned int)r->uptime_s, (int)r->detail,
			(unsigned int)r->arg, (unsigned int)r->hw_reset);
	}
	*stalled = !wait_for_console();
}


/**
 * @brief Log the whole event log from flash, oldest first, with all the
 *        details, a line at a time as the console takes them.
 *
 * @sideeffects Reads the flash log; logs it, and says on the footer that it did; blocks the
 *              main thread while the console takes it, feeding the watchdog. errno may be set
 *              by snprintf() (only on an output error).
 */
static void dump_log(void)
{
	bool stalled = false;
	int n;

	LOG_INF("Event log, oldest first:");
	stalled = !wait_for_console();
	n = event_log_dump(log_one_start, &stalled);
	if (n < 0) {
		LOG_ERR("Event log unavailable: %d", n);
	} else if (stalled) {
		LOG_WRN("Event log dump stopped: the console isn't reading");
	} else {
		LOG_INF("End of event log: %d starts", n);
	}
	ui_message("Event log sent to the console");
}


/**
 * @brief Act on a button: A and B change the screen; X and Y page the
 *        networks and events screens, and X scans now on the channels
 *        screen; X and Y together on the events screen dump the log.
 *
 * @param key Key code from controls_wait(), or a negative errno.
 * @param[in,out] scr What is on screen.
 * @return True if the screen needs redrawing in full.
 *
 * @sideeffects Writes @p scr through its pointer; X on the channels screen wakes the scan
 *              thread (scan_task_request()); X and Y together on the events screen log the
 *              whole event log (dump_log()). errno may be set by snprintf() (only on an output
 *              error).
 */
static bool handle_key(int key, struct screen *scr)
{
	bool list = scr->view != UI_VIEW_CHANNELS;

	switch (key) {
	case INPUT_KEY_A:
		change_view(scr, 1);
		return true;
	case INPUT_KEY_B:
		change_view(scr, -1);
		return true;
	case INPUT_KEY_X:
		if (list) {
			return page_list(scr, false);
		}
		scan_task_request();
		return false;
	case INPUT_KEY_Y:
		return list && page_list(scr, true);
	case KEYS_X_AND_Y:
		if (scr->view == UI_VIEW_EVENTS) {
			dump_log();
		}
		return false;
	default:
		return false;
	}
}


/**
 * @brief Redraw the screen if the networks, their fading, the scan count
 *        or the view have changed.
 *
 * @param[in,out] scr What is on screen.
 * @param next The networks to show.
 * @param scans Scans finished so far.
 *
 * The page shown is kept within the list, which may have shrunk.
 *
 * @sideeffects Draws on the panel (ui_show()) and updates @p scr. errno may be set by
 *              snprintf() (only on an output error).
 */
static void update_screen(struct screen *scr, const struct chan_stats *next, unsigned int scans)
{
	if (!scr->full && scans == scr->drawn_scans && chan_stats_equal(next, &scr->shown)) {
		return;
	}
	scr->shown = *next;
	scr->first = paging_clamp(scr->first, list_length(scr), ui_list_rows());
	ui_show(scr->view, scr->band, &scr->shown, scans, scr->first, scr->full);
	scr->drawn_scans = scans;
	scr->full = false;
}


/**
 * @brief Start the display, LEDs and buttons.
 *
 * Failures are logged; the meter carries on with what works.
 *
 * @sideeffects Initialises the button queue, the display (cleared) and the LEDs (backlight on,
 *              RGB LED off), and writes "Scanning..." in the footer; logs failures. errno may
 *              be set by snprintf() (only on an output error).
 */
static void start_io(void)
{
	controls_init();
	/* Clear the panel before the backlight shows its power-on contents. */
	if (ui_init() != 0) {
		LOG_ERR("Display not ready: console output only");
	}
	if (status_init() != 0) {
		LOG_ERR("LEDs not ready");
	}
	ui_message("Scanning...");
}


/**
 * @brief Record this start in the flash log, with why it happened.
 *
 * Takes the note the run before left (reset_note_take()) first, before
 * anything else can restart the meter. With CONFIG_METER_RESET_CAUSE,
 * the record also keeps the hardware's reset cause (reset_cause_take()).
 *
 * @retval 0 Recorded, or the log is open but the record couldn't be added.
 * @retval <0 Negative errno from event_log_init(): there is no log.
 *
 * @sideeffects Those of reset_note_take(), reset_cause_take() (with
 *              CONFIG_METER_RESET_CAUSE), event_log_init() and event_log_add(): starts
 *              this run's note, reads and clears the hardware's reset cause, reads and writes
 *              the flash log. errno unchanged.
 */
static int record_start(void)
{
	struct boot_note note;
	struct boot_record r;
	int ret;

	reset_note_take(&note);
	ret = event_log_init();
	if (ret != 0) {
		return ret;
	}
	boot_record_from_note(&note, event_log_last_boot() + 1U, &r);
	if (IS_ENABLED(CONFIG_METER_RESET_CAUSE)) {
		r.hw_reset = reset_cause_take();
	}
	(void)event_log_add(&r);

	return 0;
}


/**
 * @brief Print the newest starts on the console.
 *
 * @sideeffects Logs up to STARTS_ON_CONSOLE lines. errno may be set by snprintf() (only on an
 *              output error).
 */
static void print_starts(void)
{
	char text[START_TEXT_MAX];

	for (size_t i = 0; i < MIN(event_log_count(), (size_t)STARTS_ON_CONSOLE); i++) {
		const struct boot_record *e = event_log_get(i);

		boot_record_describe(e, text, sizeof(text));
		LOG_INF("Start %s (detail %d, 0x%08x)", text, (int)e->detail, (unsigned int)e->arg);
	}
}


/**
 * @brief Bring the event log up for this run: record this start, print the
 *        newest, hand them to the events screen.
 *
 * @sideeffects Those of record_start() and print_starts(); gives the UI its event source
 *              (ui_set_events()). errno may be set by snprintf() (only on an output error).
 */
static void log_start(void)
{
	if (record_start() != 0) {
		return;
	}
	print_starts();
	ui_set_events(event_log_count(), event_log_get);
}


/**
 * @brief Entry point: start the display and Wi-Fi, then redraw for ever.
 *
 * @return 0 if the Wi-Fi interface is missing (nothing else to do).
 *
 * @sideeffects Runs for ever: logs the start (log_start()), starts the watchdog and the scan
 *              thread, and drives the display, the RGB LED and the button queue; sets and feeds
 *              the main thread's watchdog channel (@c main_watch) and keeps the restart note's
 * uptime. Returns only if there is no Wi-Fi interface. errno may be set by snprintf() (only on an
 *              output error).
 */
int main(void)
{
	/* Static: struct screen holds a whole scan, too big for the stack. */
	static struct screen scr = {
		.page = 0,
		.view = UI_VIEW_CHANNELS,
		.band = CHAN_BAND_2G4,
		.full = true,
	};
	static struct chan_stats next;

	log_start();
	start_io();
	if (scanner_init() != 0) {
		ui_message("No Wi-Fi interface");
		status_set(STATUS_ERROR);
		return 0;
	}
	(void)watchdog_init();
	main_watch = watchdog_add(BOOT_WATCHED_MAIN, MAIN_DEADLINE_MS);
	scan_task_start();

	for (;;) {
		struct scan_task_state state;

		watchdog_feed(main_watch);
		reset_note_alive(k_uptime_get());

		if (handle_key(controls_wait(K_MSEC(CONFIG_METER_REDRAW_MS)), &scr)) {
			scr.full = true;
		}
		scan_task_snapshot(k_uptime_get(), &next, &state);
		status_set(led_status(&next, &state, scr.band));
		if (state.scans > 0U) { /* "Scanning..." until the first scan ends */
			update_screen(&scr, &next, state.scans);
		}
	}
}
```

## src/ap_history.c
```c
/*
 * Copyright (c) 2026 Rob McKay
 *
 * SPDX-License-Identifier: Apache-2.0
 */

#include <string.h>

#include <zephyr/sys/util.h>

#include "ap_history.h"

/*
 * Public interface: documented in ap_history.h.
 */
void ap_history_reset(struct ap_history *h)
{
	memset(h, 0, sizeof(*h));
}

/**
 * @brief Find an access point by BSSID.
 *
 * @param h History.
 * @param bssid BSSID.
 * @return Its index, or h->count if it is not there.
 *
 * @sideeffects None; errno unchanged.
 */
static size_t find(const struct ap_history *h, const uint8_t *bssid)
{
	size_t i = 0;

	while (i < h->count && memcmp(h->aps[i].bssid, bssid, CHAN_BSSID_LEN) != 0) {
		i++;
	}

	return i;
}

/**
 * @brief Find the access point heard longest ago.
 *
 * @param h History, not empty.
 * @return Its index.
 *
 * @sideeffects None; errno unchanged.
 */
static size_t oldest(const struct ap_history *h)
{
	size_t old = 0;

	for (size_t i = 1; i < h->count; i++) {
		if (h->heard_ms[i] < h->heard_ms[old]) {
			old = i;
		}
	}

	return old;
}

/*
 * Public interface: documented in ap_history.h.
 *
 * When the history is full, the slot of the access point heard longest ago (oldest()) is
 * reused; one heard in this same scan is never replaced.
 */
void ap_history_merge(struct ap_history *h, const struct chan_stats *scan, int64_t now_ms)
{
	for (size_t i = 0; i < scan->ap_count; i++) {
		size_t slot = find(h, scan->aps[i].bssid);

		if (slot == h->count) {
			if (h->count < CHAN_MAX_APS) {
				h->count++;
			} else {
				slot = oldest(h);
				if (h->heard_ms[slot] >= now_ms) {
					continue; /* full of this scan's own access points */
				}
			}
		}
		h->aps[slot] = scan->aps[i];
		h->aps[slot].freshness = CHAN_FRESH;
		h->heard_ms[slot] = now_ms;
	}
	h->ignored = scan->ignored;
	h->dropped = scan->dropped;
}

/*
 * Public interface: documented in ap_history.h.
 *
 * Compacts the arrays in place, keeping their order.
 */
void ap_history_expire(struct ap_history *h, int64_t now_ms, const struct ap_fade *fade)
{
	size_t kept = 0;

	for (size_t i = 0; i < h->count; i++) {
		if (now_ms - h->heard_ms[i] < fade->end_ms) {
			h->aps[kept] = h->aps[i];
			h->heard_ms[kept] = h->heard_ms[i];
			kept++;
		}
	}
	h->count = kept;
}

/*
 * Public interface: documented in ap_history.h.
 *
 * The products fit easily in int64_t. The end <= start case is caught by the second test, so
 * the division never divides by zero. The result is min_level plus a share of the rest, so it
 * never falls below min_level before end_ms, and never exceeds CHAN_FRESH.
 */
uint8_t ap_history_freshness(int64_t age_ms, const struct ap_fade *fade)
{
	if (age_ms <= fade->start_ms) {
		return CHAN_FRESH;
	}
	if (age_ms >= fade->end_ms) {
		return 0; /* also when end_ms <= start_ms: no fade, so no division by 0 */
	}

	int64_t min = MIN(fade->min_level, CHAN_FRESH);
	int64_t share =
		((fade->end_ms - age_ms) * (CHAN_FRESH - min)) / (fade->end_ms - fade->start_ms);

	return (uint8_t)(min + share);
}

/*
 * Public interface: documented in ap_history.h.
 */
void ap_history_snapshot(const struct ap_history *h, int64_t now_ms, const struct ap_fade *fade,
			 struct chan_stats *out)
{
	chan_stats_reset(out);
	for (size_t i = 0; i < h->count; i++) {
		uint8_t fresh = ap_history_freshness(now_ms - h->heard_ms[i], fade);

		if (fresh > 0U) {
			out->aps[out->ap_count] = h->aps[i];
			out->aps[out->ap_count].freshness = fresh;
			out->ap_count++;
		}
	}
	out->ignored = h->ignored;
	out->dropped = h->dropped;
}
```

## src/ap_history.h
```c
/*
 * Copyright (c) 2026 Rob McKay
 *
 * SPDX-License-Identifier: Apache-2.0
 *
 * The access points heard over recent scans, each with the time it was last
 * heard, so that one scan that misses a network (or hears nothing at all)
 * doesn't blank the display. A network stays at full brightness for a
 * while after it was last heard, then fades out and is forgotten. No
 * Zephyr APIs here: times are passed in, in milliseconds.
 */

#ifndef METER_AP_HISTORY_H_
#define METER_AP_HISTORY_H_

#include <stddef.h>
#include <stdint.h>

#include "chan_stats.h"

/** Access points remembered, with when each was last heard. */
struct ap_history {
	struct chan_ap aps[CHAN_MAX_APS];
	int64_t heard_ms[CHAN_MAX_APS];
	size_t count;
	size_t ignored; /**< the latest scan's ignored results */
	size_t dropped; /**< the latest scan's dropped results */
};

/** How long access points stay shown. */
struct ap_fade {
	int64_t start_ms;  /**< age at which an access point starts to fade */
	int64_t end_ms;    /**< age at which it has faded out and is forgotten */
	uint8_t min_level; /**< freshness it fades to, still visible, before it goes */
};

/**
 * @brief Forget every access point.
 *
 * @param[out] h History.
 *
 * @sideeffects None (writes only through @p h); errno unchanged.
 */
void ap_history_reset(struct ap_history *h);

/**
 * @brief Add a scan's access points, heard at @p now_ms.
 *
 * Access points already known (by BSSID) take the scan's channel and
 * signal; new ones are added. When the history is full, a new access point
 * replaces the one heard longest ago, if that is older than @p now_ms.
 *
 * @param[in,out] h History.
 * @param scan The scan.
 * @param now_ms When the scan finished.
 *
 * @sideeffects None (writes only through @p h); errno unchanged.
 */
void ap_history_merge(struct ap_history *h, const struct chan_stats *scan, int64_t now_ms);

/**
 * @brief Forget the access points that have faded out.
 *
 * @param[in,out] h History.
 * @param now_ms Time now.
 * @param fade Fade timing.
 *
 * @sideeffects None (writes only through @p h); errno unchanged.
 */
void ap_history_expire(struct ap_history *h, int64_t now_ms, const struct ap_fade *fade);

/**
 * @brief Work out an access point's freshness from its age.
 *
 * @param age_ms Time since it was last heard.
 * @param fade Fade timing.
 * @return CHAN_FRESH up to fade->start_ms, falling in a straight line
 *         towards fade->min_level at fade->end_ms, then 0 (gone) from
 *         end_ms on; straight from CHAN_FRESH to 0 if end_ms is not after
 *         start_ms.
 *
 * @sideeffects None; errno unchanged.
 */
uint8_t ap_history_freshness(int64_t age_ms, const struct ap_fade *fade);

/**
 * @brief Make statistics of the access points still showing, with their
 *        freshness at @p now_ms.
 *
 * @param h History.
 * @param now_ms Time now.
 * @param fade Fade timing.
 * @param[out] out The access points not yet faded out, and the latest
 *             scan's ignored and dropped counts.
 *
 * @sideeffects None (writes only through @p out); errno unchanged.
 */
void ap_history_snapshot(const struct ap_history *h, int64_t now_ms, const struct ap_fade *fade,
			 struct chan_stats *out);

#endif /* METER_AP_HISTORY_H_ */
```
